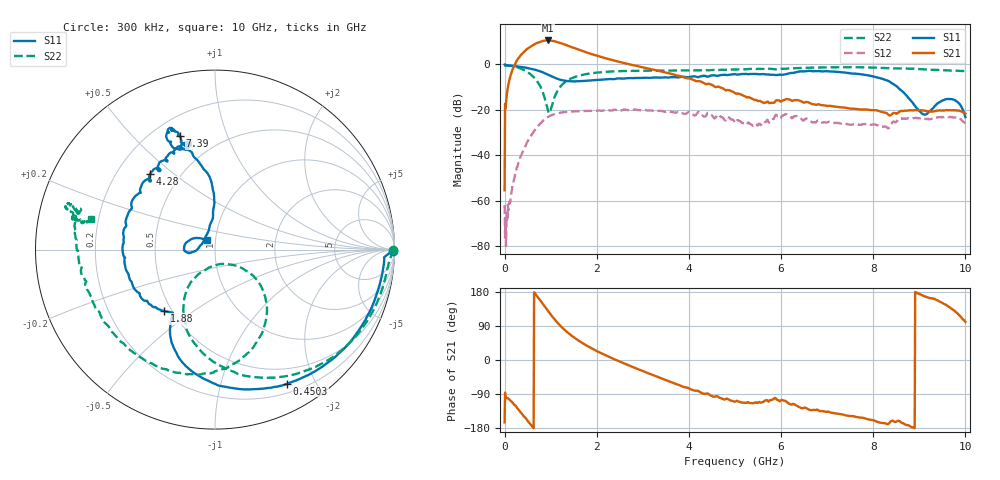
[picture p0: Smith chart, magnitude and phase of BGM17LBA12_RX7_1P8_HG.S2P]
!Agilent Technologies,E5071C,MY46316587,B.13.01
!Date: Fri Dec 08 11:17:06 2017
!Data & Calibration Information:
!Freq	S11:SOLT2(ON)	S21:SOLT2(ON)	S12:SOLT2(ON)	S22:SOLT2(ON)
!PortZ  Port1:50+j0  Port2:50+j0
!Above PortZ is port z conversion or system Z0 setting when saving the data.
!When reading, reference impedance value at option line is always used.
# Hz S dB R 50
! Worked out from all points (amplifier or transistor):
!   1001 points, 300 kHz to 10 GHz, reference 50 ohm
!   highest |S21| = 10.6 dB at 940.3 MHz (marker M1)
!   |S21| within 3 dB of that: 545.3 MHz to 1.464 GHz (918.6 MHz wide, 91.4 % of centre)
!   unconditionally stable (mu >= 1): start of sweep to end of sweep
!   at 1.66 GHz: K = 1.53, MAG = 9.1 dB, |S12| = -20.6 dB
!   at 5 GHz: K = 10.46, MAG = -6.7 dB, |S12| = -25.6 dB
!   at 10 GHz: K = 60.28, MAG = -18.7 dB, |S12| = -26.0 dB
!   lowest NFmin = 1.14 dB at 800 MHz
!   S11 on the Smith chart (normalised r, x): 300 kHz: open; 450.3 MHz: 0.31, -1.63; 1.88 GHz: 0.46, -0.39; 4.28 GHz: 0.34, +0.42; 7.39 GHz: 0.31, +0.69; 10 GHz: 0.91, +0.10
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300000  -0.08 -0.4  -55.51 -164.8  -62.03 -60.5  -0.06 -0.1
6.02982e7  -0.53 -9.2  -11.49 -100.5  -69.00 130.5  -0.36 -11.3
1.00297e8  -0.58 -14.8  -7.19 -103.9  -61.47 133.4  -0.45 -18.3
2.902913e8  -0.93 -41.3  2.51 -129.3  -44.09 151.1  -1.38 -51.0
4.502865e8  -1.43 -61.7  6.05 -152.7  -36.14 141.1  -2.81 -76.4
7.202784e8  -2.71 -93.0  9.55 165.7  -27.25 115.1  -7.79 -114.9
8.302751e8  -3.49 -104.0  10.32 148.2  -24.89 102.2  -12.31 -126.1
9.402718e8  -4.51 -112.7  10.56 129.8  -23.19 88.0  -20.29 -102.0
1.100267e9  -6.02 -119.9  10.10 104.9  -21.77 69.3  -13.58 -34.5
1.300261e9  -7.16 -122.6  8.80 79.7  -21.02 51.1  -7.97 -44.8
1.67025e9  -7.34 -125.8  6.05 46.1  -20.59 28.6  -4.68 -68.4
1.880244e9  -7.06 -129.6  4.61 31.3  -20.51 19.2  -3.92 -78.8
2.500225e9  -6.17 -147.7  1.08 -4.3  -20.19 -3.6  -2.97 -102.0
3.3402e9  -5.84 175.7  -2.83 -45.6  -20.48 -30.9  -2.72 -128.9
4.280172e9  -5.09 130.5  -7.73 -87.4  -22.13 -61.9  -2.59 -161.5
5.00015e9  -4.30 109.3  -12.64 -110.0  -25.55 -74.6  -2.24 177.0
6.6701e9  -2.97 109.4  -17.47 -132.2  -25.49 -98.1  -1.39 162.5
7.390078e9  -3.58 107.3  -19.04 -145.9  -26.11 -107.1  -1.26 163.6
8.34005e9  -7.39 95.6  -22.38 -167.5  -27.96 -107.3  -1.75 165.4
9.080028e9  -21.88 139.6  -20.30 169.8  -23.85 -152.0  -2.13 167.8
9.66001e9  -15.29 176.0  -20.16 139.0  -23.23 165.8  -2.69 168.0
1e10  -23.24 130.1  -21.72 100.7  -26.03 114.2  -2.98 166.1
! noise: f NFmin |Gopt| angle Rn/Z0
6.5e+08  1.203  0.4373  66.42  0.2907
7e+08  1.169  0.4468  69.35  0.2719
7.5e+08  1.158  0.3947  70.52  0.2749
8e+08  1.138  0.4166  74.31  0.2436
8.5e+08  1.162  0.4069  76.31  0.2521
9e+08  1.158  0.4253  77.19  0.2283
9.5e+08  1.182  0.3789  82.07  0.2531
1e+09  1.219  0.3848  86.92  0.2029
